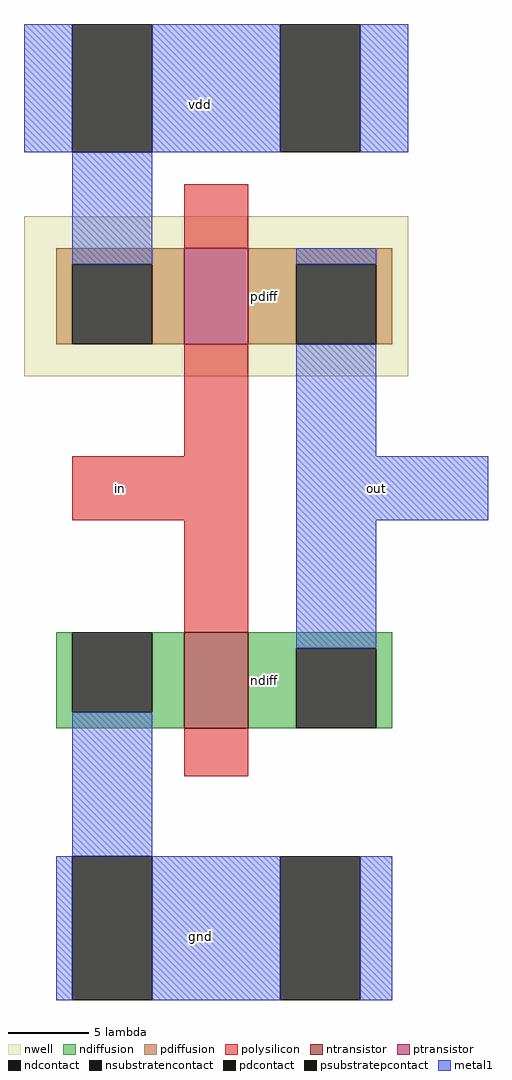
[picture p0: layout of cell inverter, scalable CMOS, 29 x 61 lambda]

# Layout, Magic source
magic
tech scmos
<< nwell >>
rect -8 5 16 15
<< polysilicon >>
rect 2 13 6 17
rect 2 0 6 7
rect -5 -4 6 0
rect 2 -11 6 -4
rect 2 -20 6 -17
<< ndiffusion >>
rect -6 -16 -5 -11
rect 0 -16 2 -11
rect -6 -17 2 -16
rect 6 -12 15 -11
rect 6 -17 9 -12
rect 14 -17 15 -12
<< pdiffusion >>
rect -6 12 2 13
rect -6 7 -5 12
rect 0 7 2 12
rect 6 12 15 13
rect 6 7 9 12
rect 14 7 15 12
<< metal1 >>
rect -8 19 -5 27
rect 0 19 8 27
rect 13 19 16 27
rect -5 12 0 19
rect 9 12 14 13
rect 9 0 14 7
rect 9 -4 21 0
rect -5 -25 0 -16
rect 9 -12 14 -4
rect -6 -34 -5 -25
rect 0 -34 8 -25
rect 13 -34 15 -25
<< ntransistor >>
rect 2 -17 6 -11
<< ptransistor >>
rect 2 7 6 13
<< ndcontact >>
rect -5 -16 0 -11
rect 9 -17 14 -12
<< pdcontact >>
rect -5 7 0 12
rect 9 7 14 12
<< psubstratepcontact >>
rect -5 -34 0 -25
rect 8 -34 13 -25
<< nsubstratencontact >>
rect -5 19 0 27
rect 8 19 13 27
<< labels >>
rlabel metal1 3 22 3 22 5 vdd
rlabel pdiffusion 7 10 7 10 1 pdiff
rlabel polysilicon -2 -2 -2 -2 1 in
rlabel metal1 14 -2 14 -2 1 out
rlabel ndiffusion 7 -14 7 -14 1 ndiff
rlabel metal1 3 -30 3 -30 1 gnd
<< end >>
